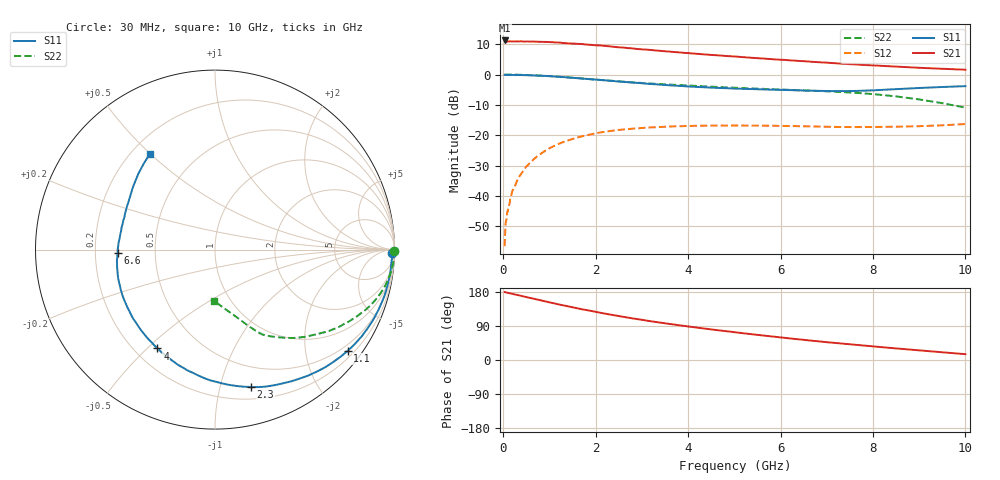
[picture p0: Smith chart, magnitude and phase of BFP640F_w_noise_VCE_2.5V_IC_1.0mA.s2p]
! Infineon Technologies  Discrete & RF Semiconductors
! BFP640F
! VCE =  2.5 V,  IC =  1.0 mA
! Common Emitter S-Parameters:  Apr 2013
# GHz  S  MA  R  50
!  f  S11  S21  S12  S22
! GHz  MAG  ANG  MAG  ANG  MAG  ANG  MAG  ANG
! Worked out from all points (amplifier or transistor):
!   99 points, 30 MHz to 10 GHz, reference 50 ohm
!   highest |S21| = 11.2 dB at 30 MHz (marker M1)
!   |S21| within 3 dB of that: start of sweep to 3.081 GHz
!   unconditionally stable (mu >= 1): 6.426 GHz to end of sweep
!   at 350 MHz: K = -0.02, MSG = 22.2 dB, |S12| = -33.5 dB
!   at 3.5 GHz: K = 0.52, MSG = 12.4 dB, |S12| = -17.2 dB
!   at 10 GHz: K = 1.37, MAG = 5.3 dB, |S12| = -16.3 dB
!   lowest NFmin = 0.52 dB at 450 MHz
!   S11 on the Smith chart (normalised r, x): 30 MHz: 55, -73; 1.1 GHz: 0.35, -2.92; 2.3 GHz: 0.31, -1.25; 4 GHz: 0.29, -0.54; 6.6 GHz: 0.30, -0.02; 10 GHz: 0.27, +0.50
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0.03  0.9868 -1.0  3.638 179.2  0.0015 98.5  0.9998 -0.5
0.04  0.9874 -1.4  3.445 178.9  0.0022 96.3  0.9988 -0.7
0.05  0.988 -1.8  3.464 178.8  0.0035 105.6  0.9997 -0.8
0.09  0.9873 -3.0  3.471 177.5  0.0056 94.0  0.999 -1.6
0.13  0.986 -4.5  3.519 176.4  0.0071 91.6  0.9981 -2.2
0.2  0.9851 -6.8  3.509 174.5  0.0123 87.0  0.9965 -3.5
0.3  0.9829 -10.1  3.518 171.7  0.0179 85.9  0.9937 -5.2
0.6  0.9707 -20.4  3.484 163.3  0.0365 80.0  0.9772 -10.2
1.1  0.9299 -37.4  3.391 149.5  0.0667 68.8  0.9319 -18.1
1.7  0.8589 -56.9  3.179 134.0  0.0961 56.3  0.8624 -26.4
2.1  0.8141 -69.6  3.012 124.7  0.1115 48.6  0.8161 -31.7
2.3  0.791 -75.4  2.912 120.2  0.1174 45.3  0.7937 -34.0
2.8  0.7372 -89.4  2.691 109.8  0.1286 37.6  0.7435 -39.1
3.4  0.6815 -105.2  2.455 98.6  0.1373 30.4  0.6963 -44.3
4  0.6369 -120.2  2.253 88.5  0.1424 24.6  0.6598 -48.2
4.6  0.6046 -134.8  2.081 79.2  0.1447 19.9  0.6272 -51.6
5.1  0.5848 -146.4  1.956 72.0  0.1448 16.7  0.6027 -54.1
5.7  0.5668 -159.3  1.816 63.6  0.1439 13.7  0.5779 -56.8
6.6  0.5431 -178.0  1.641 51.9  0.1405 11.0  0.5451 -60.5
6.7  0.5421 180.0  1.617 50.7  0.1399 11.0  0.5401 -60.9
8.5  0.5752 142.6  1.351 30.6  0.1385 13.2  0.4373 -68.4
10  0.6443 124.2  1.201 15.4  0.1534 16.6  0.2858 -91.2
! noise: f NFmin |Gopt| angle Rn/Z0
0.45  0.52  0.75  11  0.34
0.9  0.69  0.71  23  0.33
1.5  0.87  0.7  32  0.32
1.9  0.98  0.65  47  0.31
2.4  1.13  0.64  66  0.3
3.5  1.33  0.56  84  0.28
5.5  1.77  0.48  144  0.26
10  2.96  0.61  -113  0.48
